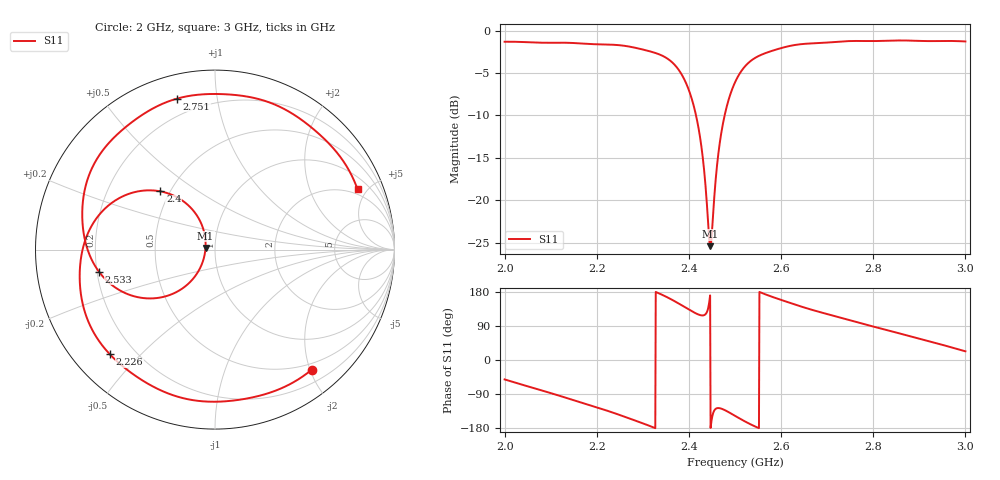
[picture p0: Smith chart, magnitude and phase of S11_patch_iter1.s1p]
! openEMS
# GHZ S MA R 50
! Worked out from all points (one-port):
!   1001 points, 2 GHz to 3 GHz, reference 50 ohm
!   lowest |S11| = -25.4 dB at 2.446 GHz (marker M1), VSWR 1.11, Z = 45 + j0.799 ohm
!   |S11| at or under -10 dB: 2.415 GHz to 2.477 GHz (62.08 MHz wide, 2.54 % of centre)
!   S11 on the Smith chart (normalised r, x): 2 GHz: 0.40, -2.02; 2.226 GHz: 0.11, -0.41; 2.4 GHz: 0.44, +0.36; 2.533 GHz: 0.21, -0.09; 2.751 GHz: 0.11, +0.77; 3 GHz: 1.65, +4.33
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2  0.8592 -51.2
2.06  0.8511 -73.1
2.125  0.848 -96.6
2.171  0.8376 -114.2
2.226  0.8266 -135.2
2.25  0.8192 -145.2
2.286  0.7889 -160.9
2.323  0.7438 -177.9
2.35  0.6926 167.3
2.375  0.6008 151.0
2.4  0.4447 133.2
2.425  0.2271 118.3
2.446  0.05365 170.5
2.45  0.06504 -153.0
2.46  0.1509 -127.6
2.47  0.247 -128.2
2.483  0.3646 -135.5
2.5  0.495 -147.3
2.533  0.6586 -169.3
2.574  0.7494 169.6
2.625  0.8176 148.4
2.679  0.8432 128.2
2.75  0.8672 104.5
2.751  0.8674 104.2
2.817  0.8686 83.0
2.875  0.8732 64.1
2.94  0.8672 43.3
3  0.8625 22.9
